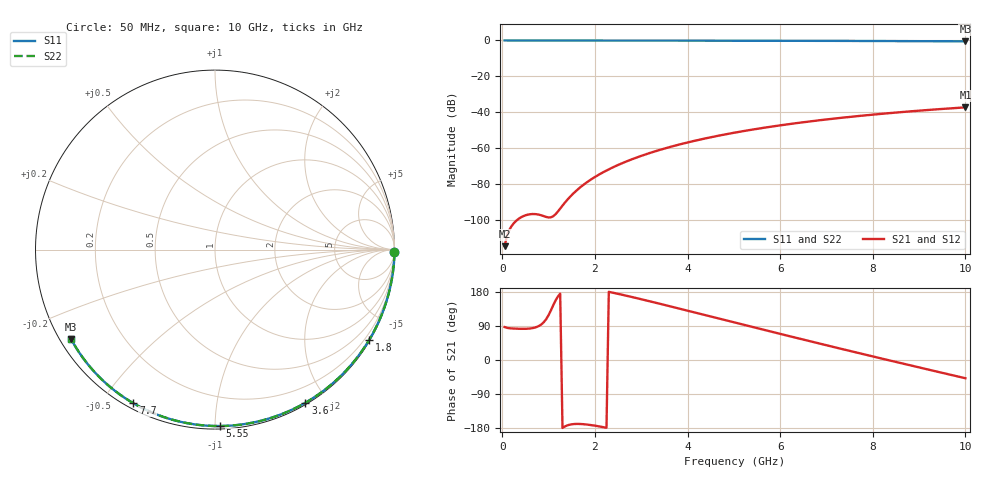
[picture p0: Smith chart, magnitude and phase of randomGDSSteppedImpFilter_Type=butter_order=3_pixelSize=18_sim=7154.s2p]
! freq	dB(S11)	phase(S11)	dB(S12)	phase(S12)
!  dB(S21)	phase(S21)	dB(S22)	phase(S22)
!S-par simulation data
#  GHz  S  DB  R 50
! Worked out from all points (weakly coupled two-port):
!   200 points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, 50 MHz to 10 GHz, reference 50 ohm
!   highest |S21| = -37.20 dB at 10 GHz (marker M1); lowest = -114.4 dB at 50 MHz (marker M2)
!   lowest |S11| = -0.5 dB at 10 GHz (marker M3), VSWR 34.84, Z = 1.55 - j14.3 ohm
!   |S11| at or under -10 dB: nowhere
!   |S22| runs from -0.5 to 0.0 dB; largest |S21 - S12| = 0
!   S11 on the Smith chart (normalised r, x): 50 MHz: open; 1.8 GHz: 0.03, -3.67; 3.6 GHz: 0.02, -1.75; 5.55 GHz: 0.02, -1.03; 7.7 GHz: 0.02, -0.60; 10 GHz: 0.03, -0.29
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0.05  -0.00 -0.9  -114.40 86.9  -114.40 86.9  -0.00 -0.9
0.45  -0.01 -7.7  -97.74 82.2  -97.74 82.2  -0.01 -7.7
0.9  -0.02 -15.4  -97.72 100.3  -97.72 100.3  -0.02 -15.4
1.3  -0.03 -22.2  -91.83 -179.3  -91.83 -179.3  -0.03 -22.2
1.75  -0.04 -29.7  -80.31 -169.4  -80.31 -169.4  -0.04 -29.7
1.8  -0.04 -30.5  -79.35 -169.9  -79.35 -169.9  -0.04 -30.5
1.95  -0.04 -33.0  -76.73 -172.3  -76.73 -172.3  -0.04 -33.0
2.1  -0.05 -35.5  -74.42 -175.4  -74.42 -175.4  -0.05 -35.4
2.3  -0.05 -38.7  -71.67 179.9  -71.67 179.9  -0.05 -38.7
2.5  -0.05 -42.0  -69.25 174.6  -69.25 174.6  -0.05 -42.0
2.9  -0.06 -48.4  -65.10 163.3  -65.10 163.3  -0.06 -48.4
3.4  -0.07 -56.3  -60.86 148.5  -60.86 148.5  -0.07 -56.3
3.6  -0.08 -59.5  -59.39 142.4  -59.39 142.4  -0.08 -59.4
4.3  -0.10 -70.2  -54.95 121.0  -54.95 121.0  -0.10 -70.2
5.05  -0.12 -81.3  -51.11 97.9  -51.11 97.9  -0.12 -81.3
5.55  -0.14 -88.5  -48.95 82.7  -48.95 82.7  -0.14 -88.5
6.1  -0.17 -96.2  -46.85 65.9  -46.85 65.9  -0.17 -96.2
6.7  -0.20 -104.5  -44.84 47.9  -44.84 47.9  -0.20 -104.5
7.7  -0.27 -118.0  -42.00 18.2  -42.00 18.2  -0.27 -118.0
8.35  -0.32 -126.5  -40.43 -0.8  -40.43 -0.8  -0.32 -126.5
9.2  -0.41 -137.6  -38.64 -25.3  -38.64 -25.3  -0.41 -137.6
10  -0.50 -148.1  -37.20 -48.1  -37.20 -48.1  -0.50 -148.1
